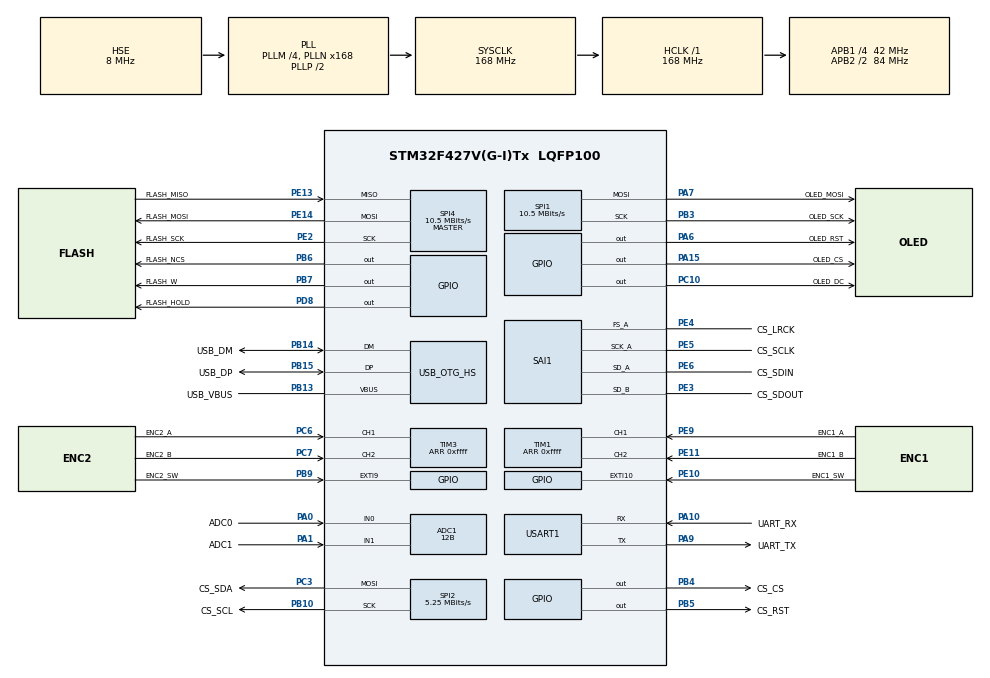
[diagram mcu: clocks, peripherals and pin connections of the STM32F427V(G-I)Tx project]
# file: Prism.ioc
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ADC1.Channel-0\#ChannelRegularConversion=ADC_CHANNEL_0
ADC1.Channel-1\#ChannelRegularConversion=ADC_CHANNEL_1
ADC1.ClockPrescaler=ADC_CLOCK_SYNC_PCLK_DIV8
ADC1.ContinuousConvMode=ENABLE
ADC1.DMAContinuousRequests=ENABLE
ADC1.DataAlign=ADC_DATAALIGN_RIGHT
ADC1.DiscontinuousConvMode=DISABLE
ADC1.EOCSelection=ADC_EOC_SINGLE_CONV
ADC1.EnableAnalogWatchDog=false
ADC1.ExternalTrigConv=ADC_SOFTWARE_START
ADC1.ExternalTrigConvEdge=ADC_EXTERNALTRIGCONVEDGE_NONE
ADC1.InjNumberOfConversion=0
ADC1.NbrOfConversion=2
ADC1.NbrOfConversionFlag=1
ADC1.Rank-0\#ChannelRegularConversion=1
ADC1.Rank-1\#ChannelRegularConversion=2
ADC1.Resolution=ADC_RESOLUTION_12B
ADC1.SamplingTime-0\#ChannelRegularConversion=ADC_SAMPLETIME_144CYCLES
ADC1.SamplingTime-1\#ChannelRegularConversion=ADC_SAMPLETIME_144CYCLES
ADC1.ScanConvMode=ENABLE
ADC1.master=1
Dma.ADC1.5.Direction=DMA_PERIPH_TO_MEMORY
Dma.ADC1.5.FIFOMode=DMA_FIFOMODE_DISABLE
Dma.ADC1.5.Instance=DMA2_Stream0
Dma.ADC1.5.MemDataAlignment=DMA_MDATAALIGN_HALFWORD
Dma.ADC1.5.MemInc=DMA_MINC_ENABLE
Dma.ADC1.5.Mode=DMA_CIRCULAR
Dma.ADC1.5.PeriphDataAlignment=DMA_PDATAALIGN_HALFWORD
Dma.ADC1.5.PeriphInc=DMA_PINC_DISABLE
Dma.ADC1.5.Priority=DMA_PRIORITY_LOW
Dma.Request0=SAI1_A
Dma.Request1=SAI1_B
Dma.Request2=SPI1_TX
Dma.Request3=USART1_RX
Dma.Request4=USART1_TX
Dma.Request5=ADC1
Dma.SAI1_A.0.Direction=DMA_MEMORY_TO_PERIPH
Dma.SAI1_A.0.FIFOMode=DMA_FIFOMODE_DISABLE
Dma.SAI1_A.0.Instance=DMA2_Stream1
Dma.SAI1_A.0.MemDataAlignment=DMA_MDATAALIGN_WORD
Dma.SAI1_A.0.MemInc=DMA_MINC_ENABLE
Dma.SAI1_A.0.Mode=DMA_CIRCULAR
Dma.SAI1_A.0.PeriphDataAlignment=DMA_PDATAALIGN_WORD
Dma.SAI1_A.0.PeriphInc=DMA_PINC_DISABLE
Dma.SAI1_A.0.Priority=DMA_PRIORITY_VERY_HIGH
Dma.SAI1_B.1.Direction=DMA_PERIPH_TO_MEMORY
Dma.SAI1_B.1.FIFOMode=DMA_FIFOMODE_DISABLE
Dma.SAI1_B.1.Instance=DMA2_Stream4
Dma.SAI1_B.1.MemDataAlignment=DMA_MDATAALIGN_WORD
Dma.SAI1_B.1.MemInc=DMA_MINC_ENABLE
Dma.SAI1_B.1.Mode=DMA_CIRCULAR
Dma.SAI1_B.1.PeriphDataAlignment=DMA_PDATAALIGN_WORD
Dma.SAI1_B.1.PeriphInc=DMA_PINC_DISABLE
Dma.SAI1_B.1.Priority=DMA_PRIORITY_VERY_HIGH
Dma.SPI1_TX.2.Direction=DMA_MEMORY_TO_PERIPH
Dma.SPI1_TX.2.FIFOMode=DMA_FIFOMODE_DISABLE
Dma.SPI1_TX.2.Instance=DMA2_Stream3
Dma.SPI1_TX.2.MemDataAlignment=DMA_MDATAALIGN_BYTE
Dma.SPI1_TX.2.MemInc=DMA_MINC_ENABLE
Dma.SPI1_TX.2.Mode=DMA_NORMAL
Dma.SPI1_TX.2.PeriphDataAlignment=DMA_PDATAALIGN_BYTE
Dma.SPI1_TX.2.PeriphInc=DMA_PINC_DISABLE
Dma.SPI1_TX.2.Priority=DMA_PRIORITY_LOW
Dma.USART1_RX.3.Direction=DMA_PERIPH_TO_MEMORY
Dma.USART1_RX.3.FIFOMode=DMA_FIFOMODE_DISABLE
Dma.USART1_RX.3.Instance=DMA2_Stream2
Dma.USART1_RX.3.MemDataAlignment=DMA_MDATAALIGN_BYTE
Dma.USART1_RX.3.MemInc=DMA_MINC_ENABLE
Dma.USART1_RX.3.Mode=DMA_NORMAL
Dma.USART1_RX.3.PeriphDataAlignment=DMA_PDATAALIGN_BYTE
Dma.USART1_RX.3.PeriphInc=DMA_PINC_DISABLE
Dma.USART1_RX.3.Priority=DMA_PRIORITY_LOW
Dma.USART1_TX.4.Direction=DMA_MEMORY_TO_PERIPH
Dma.USART1_TX.4.FIFOMode=DMA_FIFOMODE_DISABLE
Dma.USART1_TX.4.Instance=DMA2_Stream7
Dma.USART1_TX.4.MemDataAlignment=DMA_MDATAALIGN_BYTE
Dma.USART1_TX.4.MemInc=DMA_MINC_ENABLE
Dma.USART1_TX.4.Mode=DMA_NORMAL
Dma.USART1_TX.4.PeriphDataAlignment=DMA_PDATAALIGN_BYTE
Dma.USART1_TX.4.PeriphInc=DMA_PINC_DISABLE
Dma.USART1_TX.4.Priority=DMA_PRIORITY_LOW
FREERTOS.INCLUDE_vTaskDelayUntil=1
FREERTOS.MEMORY_ALLOCATION=2
FREERTOS.Tasks01=defaultTask,0,512,StartDefaultTask,Default,NULL,Dynamic,NULL,NULL
FREERTOS.configCHECK_FOR_STACK_OVERFLOW=2
FREERTOS.configTOTAL_HEAP_SIZE=4096
FREERTOS.configUSE_IDLE_HOOK=0
FREERTOS.configUSE_MALLOC_FAILED_HOOK=1
FREERTOS.configUSE_MUTEXES=0
FREERTOS.configUSE_PREEMPTION=0
Mcu.Family=STM32F4
Mcu.Name=STM32F427V(G-I)Tx
Mcu.Package=LQFP100
NVIC.DMA2_Stream0_IRQn=true\:5\:0\:false\:false\:true\:true\:false
NVIC.DMA2_Stream1_IRQn=true\:5\:0\:false\:false\:true\:true\:false
NVIC.DMA2_Stream2_IRQn=true\:5\:0\:false\:false\:true\:true\:false
NVIC.DMA2_Stream3_IRQn=true\:5\:0\:false\:false\:true\:true\:false
NVIC.DMA2_Stream4_IRQn=true\:5\:0\:false\:false\:true\:true\:false
NVIC.DMA2_Stream7_IRQn=true\:5\:0\:false\:false\:true\:true\:false
NVIC.EXTI15_10_IRQn=true\:12\:0\:true\:false\:true\:true\:true
NVIC.EXTI9_5_IRQn=true\:12\:0\:true\:false\:true\:true\:true
NVIC.OTG_HS_IRQn=true\:5\:0\:false\:false\:true\:true\:false
NVIC.PriorityGroup=NVIC_PRIORITYGROUP_4
NVIC.SAI1_IRQn=true\:5\:0\:false\:false\:true\:true\:true
NVIC.SPI1_IRQn=true\:10\:0\:true\:false\:true\:true\:true
NVIC.TIM1_BRK_TIM9_IRQn=true\:5\:0\:false\:false\:true\:true\:true
NVIC.TIM1_CC_IRQn=true\:5\:0\:false\:false\:true\:true\:true
NVIC.TIM1_TRG_COM_TIM11_IRQn=true\:5\:0\:false\:false\:true\:true\:true
NVIC.TIM1_UP_TIM10_IRQn=true\:5\:0\:false\:false\:true\:true\:true
NVIC.TIM3_IRQn=true\:5\:0\:false\:false\:true\:true\:true
NVIC.USART1_IRQn=true\:5\:0\:false\:false\:true\:true\:true
PA0/WKUP.GPIO_Label=ADC0
PA0/WKUP.Signal=ADCx_IN0
PA1.GPIO_Label=ADC1
PA1.Signal=ADCx_IN1
PA10.GPIO_Label=UART_RX
PA10.Mode=Multiprocessor_communication
PA10.Signal=USART1_RX
PA13.GPIO_Label=SWDIO
PA13.Mode=Serial_Wire
PA13.Signal=SYS_JTMS-SWDIO
PA14.GPIO_Label=SWDCLK
PA14.Mode=Serial_Wire
PA14.Signal=SYS_JTCK-SWCLK
PA15.GPIO_Label=OLED_CS
PA15.Signal=GPIO_Output
PA6.GPIO_Label=OLED_RST
PA6.Signal=GPIO_Output
PA7.GPIO_Label=OLED_MOSI
PA7.Mode=TX_Only_Simplex_Unidirect_Master
PA7.Signal=SPI1_MOSI
PA9.GPIO_Label=UART_TX
PA9.Mode=Multiprocessor_communication
PA9.Signal=USART1_TX
PB10.GPIO_Label=CS_SCL
PB10.Mode=TX_Only_Simplex_Unidirect_Master
PB10.Signal=SPI2_SCK
PB13.GPIO_Label=USB_VBUS
PB13.Mode=Activate_VBUS_FS
PB13.Signal=USB_OTG_HS_VBUS
PB14.GPIO_Label=USB_DM
PB14.Mode=Device_Only_FS
PB14.Signal=USB_OTG_HS_DM
PB15.GPIO_Label=USB_DP
PB15.Mode=Device_Only_FS
PB15.Signal=USB_OTG_HS_DP
PB3.GPIO_Label=OLED_SCK
PB3.Mode=TX_Only_Simplex_Unidirect_Master
PB3.Signal=SPI1_SCK
PB4.GPIO_Label=CS_CS
PB4.Signal=GPIO_Output
PB5.GPIO_Label=CS_RST
PB5.Signal=GPIO_Output
PB6.GPIO_Label=FLASH_NCS
PB6.Signal=GPIO_Output
PB7.GPIO_Label=FLASH_W
PB7.Signal=GPIO_Output
PB9.GPIO_Label=ENC2_SW
PB9.GPIO_ModeDefaultEXTI=GPIO_MODE_IT_RISING_FALLING
PB9.GPIO_PuPd=GPIO_PULLUP
PB9.Signal=GPXTI9
PC10.GPIO_Label=OLED_DC
PC10.Signal=GPIO_Output
PC3.GPIO_Label=CS_SDA
PC3.Mode=TX_Only_Simplex_Unidirect_Master
PC3.Signal=SPI2_MOSI
PC6.GPIO_Label=ENC2_A
PC6.GPIO_PuPd=GPIO_PULLUP
PC6.Signal=S_TIM3_CH1
PC7.GPIO_Label=ENC2_B
PC7.GPIO_PuPd=GPIO_PULLUP
PC7.Signal=S_TIM3_CH2
PD8.GPIO_Label=FLASH_HOLD
PD8.Signal=GPIO_Output
PE10.GPIO_Label=ENC1_SW
PE10.GPIO_ModeDefaultEXTI=GPIO_MODE_IT_RISING_FALLING
PE10.GPIO_PuPd=GPIO_PULLUP
PE10.Signal=GPXTI10
PE11.GPIO_Label=ENC1_B
PE11.GPIO_PuPd=GPIO_PULLUP
PE11.Signal=S_TIM1_CH2
PE13.GPIO_Label=FLASH_MISO
PE13.Mode=Full_Duplex_Master
PE13.Signal=SPI4_MISO
PE14.GPIO_Label=FLASH_MOSI
PE14.Mode=Full_Duplex_Master
PE14.Signal=SPI4_MOSI
PE2.GPIO_Label=FLASH_SCK
PE2.Mode=Full_Duplex_Master
PE2.Signal=SPI4_SCK
PE3.GPIO_Label=CS_SDOUT
PE3.Mode=SAI_B_SyncSlave
PE3.Signal=SAI1_SD_B
PE4.GPIO_Label=CS_LRCK
PE4.Mode=SAI_A_AsyncSlave
PE4.Signal=SAI1_FS_A
PE5.GPIO_Label=CS_SCLK
PE5.Mode=SAI_A_AsyncSlave
PE5.Signal=SAI1_SCK_A
PE6.GPIO_Label=CS_SDIN
PE6.Mode=SAI_A_AsyncSlave
PE6.Signal=SAI1_SD_A
PE9.GPIO_Label=ENC1_A
PE9.GPIO_PuPd=GPIO_PULLUP
PE9.Signal=S_TIM1_CH1
PH0/OSC_IN.Mode=HSE-External-Oscillator
PH0/OSC_IN.Signal=RCC_OSC_IN
PH1/OSC_OUT.Mode=HSE-External-Oscillator
PH1/OSC_OUT.Signal=RCC_OSC_OUT
ProjectManager.HeapSize=0x200
ProjectManager.StackSize=0x400
ProjectManager.TargetToolchain=MDK-ARM V5
RCC.48MHZClocksFreq_Value=48000000
RCC.AHBFreq_Value=168000000
RCC.APB1CLKDivider=RCC_HCLK_DIV4
RCC.APB1Freq_Value=42000000
RCC.APB1TimFreq_Value=84000000
RCC.APB2CLKDivider=RCC_HCLK_DIV2
RCC.APB2Freq_Value=84000000
RCC.APB2TimFreq_Value=168000000
RCC.CortexFreq_Value=168000000
RCC.HCLKFreq_Value=168000000
RCC.HSE_VALUE=8000000
RCC.HSI_VALUE=16000000
RCC.LSE_VALUE=32768
RCC.PLLM=4
RCC.PLLN=168
RCC.PLLQ=7
RCC.PLLSAIN=50
RCC.PLLSAIQ=2
RCC.SYSCLKFreq_VALUE=168000000
RCC.SYSCLKSource=RCC_SYSCLKSOURCE_PLLCLK
RCC.VCOOutputFreq_Value=336000000
SAI1.AudioMode-SAI_A_AsyncSlave=SAI_MODESLAVE_TX
SAI1.FrameLength-SAI_B_SyncSlave=24
SAI1.Instance-SAI_A_AsyncSlave=SAI$Index_Block_A
SAI1.Instance-SAI_B_SyncSlave=SAI$Index_Block_B
SAI1.SlotNumber-SAI_A_AsyncSlave=1
SAI1.Synchro-SAI_A_AsyncSlave=SAI_ASYNCHRONOUS
SAI1.Synchro-SAI_B_SyncSlave=SAI_SYNCHRONOUS
SAI1.VirtualMode-SAI_A_AsyncSlave=VM_SLAVE
SAI1.VirtualMode-SAI_B_SyncSlave=VM_SLAVE
SAI1.VirtualSlotActive-SAI_A_AsyncSlave=SAI_SLOT_USERSETTING
SH.ADCx_IN0.0=ADC1_IN0,IN0
SH.ADCx_IN1.0=ADC1_IN1,IN1
SH.S_TIM1_CH1.0=TIM1_CH1,Encoder_Interface
SH.S_TIM1_CH2.0=TIM1_CH2,Encoder_Interface
SH.S_TIM3_CH1.0=TIM3_CH1,Encoder_Interface
SH.S_TIM3_CH2.0=TIM3_CH2,Encoder_Interface
SPI1.BaudRatePrescaler=SPI_BAUDRATEPRESCALER_8
SPI1.CalculateBaudRate=10.5 MBits/s
SPI1.Direction=SPI_DIRECTION_2LINES
SPI1.Mode=SPI_MODE_MASTER
SPI1.VirtualType=VM_MASTER
SPI2.BaudRatePrescaler=SPI_BAUDRATEPRESCALER_8
SPI2.CalculateBaudRate=5.25 MBits/s
SPI2.Direction=SPI_DIRECTION_2LINES
SPI2.Mode=SPI_MODE_MASTER
SPI2.VirtualNSS=VM_NSSHARD
SPI2.VirtualType=VM_MASTER
SPI4.BaudRatePrescaler=SPI_BAUDRATEPRESCALER_8
SPI4.CalculateBaudRate=10.5 MBits/s
SPI4.Direction=SPI_DIRECTION_2LINES
SPI4.Mode=SPI_MODE_MASTER
SPI4.VirtualType=VM_MASTER
TIM1.EncoderMode=TIM_ENCODERMODE_TI2
TIM1.Period=0xffff
TIM3.EncoderMode=TIM_ENCODERMODE_TI2
TIM3.Period=0xffff
USART1.VirtualMode=VM_ASYNC
USB_DEVICE.CLASS_NAME_HS=AUDIO
USB_DEVICE.MANUFACTURER_STRING-AUDIO_HS=Rebel Technology
USB_DEVICE.PID_AUDIO_HS=0xDADA
USB_DEVICE.PRODUCT_STRING_AUDIO_HS=OWL-MIDI
USB_DEVICE.SERIALNUMBER_STRING_AUDIO_HS=00000000010D
USB_DEVICE.USBD_SUPPORT_USER_STRING-AUDIO_HS=1
USB_DEVICE.VID-AUDIO_HS=0x1209
USB_DEVICE.VirtualMode-AUDIO_HS=Audio
USB_DEVICE.VirtualModeHS=Audio_HS
USB_OTG_HS.VirtualMode-Device_Only_FS=Device_Only_FS
VP_FREERTOS_VS_ENABLE.Mode=Enabled
VP_USB_DEVICE_VS_USB_DEVICE_AUDIO_HS.Mode=AUDIO_HS
board=Prism

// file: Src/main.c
/**
  ******************************************************************************
  * @file           : main.c
  * @brief          : Main program body
  ******************************************************************************
  * This notice applies to any and all portions of this file
  * that are not between comment pairs USER CODE BEGIN and
  * USER CODE END. Other portions of this file, whether
  * inserted by the user or by software development tools
  * are owned by their respective copyright owners.
  *
  * Copyright (c) 2018 STMicroelectronics International N.V.
  * All rights reserved.
  *
  * Redistribution and use in source and binary forms, with or without
  * modification, are permitted, provided that the following conditions are met:
  *
  * 1. Redistribution of source code must retain the above copyright notice,
  *    this list of conditions and the following disclaimer.
  * 2. Redistributions in binary form must reproduce the above copyright notice,
  *    this list of conditions and the following disclaimer in the documentation
  *    and/or other materials provided with the distribution.
  * 3. Neither the name of STMicroelectronics nor the names of other
  *    contributors to this software may be used to endorse or promote products
  *    derived from this software without specific written permission.
  * 4. This software, including modifications and/or derivative works of this
  *    software, must execute solely and exclusively on microcontroller or
  *    microprocessor devices manufactured by or for STMicroelectronics.
  * 5. Redistribution and use of this software other than as permitted under
  *    this license is void and will automatically terminate your rights under
  *    this license.
  *
  * THIS SOFTWARE IS PROVIDED BY STMICROELECTRONICS AND CONTRIBUTORS "AS IS"
  * AND ANY EXPRESS, IMPLIED OR STATUTORY WARRANTIES, INCLUDING, BUT NOT
  * LIMITED TO, THE IMPLIED WARRANTIES OF MERCHANTABILITY, FITNESS FOR A
  * PARTICULAR PURPOSE AND NON-INFRINGEMENT OF THIRD PARTY INTELLECTUAL PROPERTY
  * RIGHTS ARE DISCLAIMED TO THE FULLEST EXTENT PERMITTED BY LAW. IN NO EVENT
  * SHALL STMICROELECTRONICS OR CONTRIBUTORS BE LIABLE FOR ANY DIRECT, INDIRECT,
  * INCIDENTAL, SPECIAL, EXEMPLARY, OR CONSEQUENTIAL DAMAGES (INCLUDING, BUT NOT
  * LIMITED TO, PROCUREMENT OF SUBSTITUTE GOODS OR SERVICES; LOSS OF USE, DATA,
  * OR PROFITS; OR BUSINESS INTERRUPTION) HOWEVER CAUSED AND ON ANY THEORY OF
  * LIABILITY, WHETHER IN CONTRACT, STRICT LIABILITY, OR TORT (INCLUDING
  * NEGLIGENCE OR OTHERWISE) ARISING IN ANY WAY OUT OF THE USE OF THIS SOFTWARE,
  * EVEN IF ADVISED OF THE POSSIBILITY OF SUCH DAMAGE.
  *
  ******************************************************************************
  */
#include "main.h"
#include "stm32f4xx_hal.h"
#include "cmsis_os.h"
#include "usb_device.h"

ADC_HandleTypeDef hadc1;
DMA_HandleTypeDef hdma_adc1;

SAI_HandleTypeDef hsai_BlockA1;
SAI_HandleTypeDef hsai_BlockB1;
DMA_HandleTypeDef hdma_sai1_a;
DMA_HandleTypeDef hdma_sai1_b;

SPI_HandleTypeDef hspi1;
SPI_HandleTypeDef hspi2;
SPI_HandleTypeDef hspi4;
DMA_HandleTypeDef hdma_spi1_tx;

TIM_HandleTypeDef htim1;
TIM_HandleTypeDef htim3;

UART_HandleTypeDef huart1;
DMA_HandleTypeDef hdma_usart1_rx;
DMA_HandleTypeDef hdma_usart1_tx;

osThreadId defaultTaskHandle;

/* USER CODE BEGIN PV */
/* Private variables ---------------------------------------------------------*/

/* USER CODE END PV */

void SystemClock_Config(void);
static void MX_GPIO_Init(void);
static void MX_DMA_Init(void);
static void MX_ADC1_Init(void);
static void MX_SAI1_Init(void);
static void MX_SPI1_Init(void);
static void MX_SPI2_Init(void);
static void MX_SPI4_Init(void);
static void MX_TIM1_Init(void);
static void MX_TIM3_Init(void);
static void MX_USART1_UART_Init(void);
void StartDefaultTask(void const * argument);

/* USER CODE BEGIN PFP */
/* Private function prototypes -----------------------------------------------*/

void setup();
void loop(void);

/* USER CODE END PFP */

int main(void)
{

  /* MCU Configuration----------------------------------------------------------*/

  /* Reset of all peripherals, Initializes the Flash interface and the Systick. */
  HAL_Init();

  /* Configure the system clock */
  SystemClock_Config();

  /* Initialize all configured peripherals */
  MX_GPIO_Init();
  MX_DMA_Init();
  MX_ADC1_Init();
  MX_SAI1_Init();
  MX_SPI1_Init();
  MX_SPI2_Init();
  MX_SPI4_Init();
  MX_TIM1_Init();
  MX_TIM3_Init();
  MX_USART1_UART_Init();
  /* USER CODE BEGIN 2 */

  HAL_SAI_DeInit(&hsai_BlockA1);
  HAL_SAI_DeInit(&hsai_BlockB1);
  hsai_BlockA1.Instance = SAI1_Block_A;
  hsai_BlockA1.Init.AudioMode = SAI_MODESLAVE_TX;
  hsai_BlockA1.Init.Synchro = SAI_ASYNCHRONOUS;
  hsai_BlockA1.Init.OutputDrive = SAI_OUTPUTDRIVE_DISABLE;
  hsai_BlockA1.Init.FIFOThreshold = SAI_FIFOTHRESHOLD_EMPTY;
  hsai_BlockA1.Init.SynchroExt = SAI_SYNCEXT_DISABLE;
  hsai_BlockA1.Init.MonoStereoMode = SAI_STEREOMODE;
  hsai_BlockA1.Init.CompandingMode = SAI_NOCOMPANDING;
  hsai_BlockA1.Init.TriState = SAI_OUTPUT_NOTRELEASED;
  if (HAL_SAI_InitProtocol(&hsai_BlockA1, SAI_I2S_STANDARD, SAI_PROTOCOL_DATASIZE_24BIT, 2) != HAL_OK)
    Error_Handler();
  hsai_BlockB1.Instance = SAI1_Block_B;
  hsai_BlockB1.Init.AudioMode = SAI_MODESLAVE_RX;
  hsai_BlockB1.Init.Synchro = SAI_SYNCHRONOUS;
  hsai_BlockB1.Init.OutputDrive = SAI_OUTPUTDRIVE_DISABLE;
  hsai_BlockB1.Init.FIFOThreshold = SAI_FIFOTHRESHOLD_EMPTY;
  hsai_BlockB1.Init.SynchroExt = SAI_SYNCEXT_DISABLE;
  hsai_BlockB1.Init.MonoStereoMode = SAI_STEREOMODE;
  hsai_BlockB1.Init.CompandingMode = SAI_NOCOMPANDING;
  hsai_BlockB1.Init.TriState = SAI_OUTPUT_NOTRELEASED;
  if (HAL_SAI_InitProtocol(&hsai_BlockB1, SAI_I2S_STANDARD, SAI_PROTOCOL_DATASIZE_24BIT, 2) != HAL_OK)
    Error_Handler();

  // Initialise
  setup();

  /* USER CODE END 2 */

  /* Create the thread(s) */
  /* definition and creation of defaultTask */
  osThreadDef(defaultTask, StartDefaultTask, osPriorityNormal, 0, 512);
  defaultTaskHandle = osThreadCreate(osThread(defaultTask), NULL);

  /* Start scheduler */
  osKernelStart();

  /* We should never get here as control is now taken by the scheduler */

  /* Infinite loop */
  while (1)
  {

  }

}

void SystemClock_Config(void)
{

  RCC_OscInitTypeDef RCC_OscInitStruct;
  RCC_ClkInitTypeDef RCC_ClkInitStruct;
  RCC_PeriphCLKInitTypeDef PeriphClkInitStruct;

    /**Macro to configure SAI1BlockB clock source selection
    */
  __HAL_RCC_SAI_BLOCKBCLKSOURCE_CONFIG(SAI_CLKSOURCE_PLLSAI);

    /**Macro to configure SAI1BlockA clock source selection
    */
  __HAL_RCC_SAI_BLOCKACLKSOURCE_CONFIG(SAI_CLKSOURCE_PLLSAI);

    /**Configure the main internal regulator output voltage
    */
  __HAL_RCC_PWR_CLK_ENABLE();

  __HAL_PWR_VOLTAGESCALING_CONFIG(PWR_REGULATOR_VOLTAGE_SCALE1);

    /**Initializes the CPU, AHB and APB busses clocks
    */
  RCC_OscInitStruct.OscillatorType = RCC_OSCILLATORTYPE_HSE;
  RCC_OscInitStruct.HSEState = RCC_HSE_ON;
  RCC_OscInitStruct.PLL.PLLState = RCC_PLL_ON;
  RCC_OscInitStruct.PLL.PLLSource = RCC_PLLSOURCE_HSE;
  RCC_OscInitStruct.PLL.PLLM = 4;
  RCC_OscInitStruct.PLL.PLLN = 168;
  RCC_OscInitStruct.PLL.PLLP = RCC_PLLP_DIV2;
  RCC_OscInitStruct.PLL.PLLQ = 7;
  if (HAL_RCC_OscConfig(&RCC_OscInitStruct) != HAL_OK)
  {
    _Error_Handler(__FILE__, __LINE__);
  }

    /**Initializes the CPU, AHB and APB busses clocks
    */
  RCC_ClkInitStruct.ClockType = RCC_CLOCKTYPE_HCLK|RCC_CLOCKTYPE_SYSCLK
                              |RCC_CLOCKTYPE_PCLK1|RCC_CLOCKTYPE_PCLK2;
  RCC_ClkInitStruct.SYSCLKSource = RCC_SYSCLKSOURCE_PLLCLK;
  RCC_ClkInitStruct.AHBCLKDivider = RCC_SYSCLK_DIV1;
  RCC_ClkInitStruct.APB1CLKDivider = RCC_HCLK_DIV4;
  RCC_ClkInitStruct.APB2CLKDivider = RCC_HCLK_DIV2;

  if (HAL_RCC_ClockConfig(&RCC_ClkInitStruct, FLASH_LATENCY_5) != HAL_OK)
  {
    _Error_Handler(__FILE__, __LINE__);
  }

  PeriphClkInitStruct.PeriphClockSelection = RCC_PERIPHCLK_SAI_PLLSAI;
  PeriphClkInitStruct.PLLSAI.PLLSAIN = 50;
  PeriphClkInitStruct.PLLSAI.PLLSAIQ = 2;
  PeriphClkInitStruct.PLLSAIDivQ = 1;
  if (HAL_RCCEx_PeriphCLKConfig(&PeriphClkInitStruct) != HAL_OK)
  {
    _Error_Handler(__FILE__, __LINE__);
  }

    /**Configure the Systick interrupt time
    */
  HAL_SYSTICK_Config(HAL_RCC_GetHCLKFreq()/1000);

    /**Configure the Systick
    */
  HAL_SYSTICK_CLKSourceConfig(SYSTICK_CLKSOURCE_HCLK);

  /* SysTick_IRQn interrupt configuration */
  HAL_NVIC_SetPriority(SysTick_IRQn, 15, 0);
}

/* ADC1 init function */
static void MX_ADC1_Init(void)
{

  ADC_ChannelConfTypeDef sConfig;

    /**Configure the global features of the ADC (Clock, Resolution, Data Alignment and number of conversion)
    */
  hadc1.Instance = ADC1;
  hadc1.Init.ClockPrescaler = ADC_CLOCK_SYNC_PCLK_DIV8;
  hadc1.Init.Resolution = ADC_RESOLUTION_12B;
  hadc1.Init.ScanConvMode = ENABLE;
  hadc1.Init.ContinuousConvMode = ENABLE;
  hadc1.Init.DiscontinuousConvMode = DISABLE;
  hadc1.Init.ExternalTrigConvEdge = ADC_EXTERNALTRIGCONVEDGE_NONE;
  hadc1.Init.ExternalTrigConv = ADC_SOFTWARE_START;
  hadc1.Init.DataAlign = ADC_DATAALIGN_RIGHT;
  hadc1.Init.NbrOfConversion = 2;
  hadc1.Init.DMAContinuousRequests = ENABLE;
  hadc1.Init.EOCSelection = ADC_EOC_SINGLE_CONV;
  if (HAL_ADC_Init(&hadc1) != HAL_OK)
  {
    _Error_Handler(__FILE__, __LINE__);
  }

    /**Configure for the selected ADC regular channel its corresponding rank in the sequencer and its sample time.
    */
  sConfig.Channel = ADC_CHANNEL_0;
  sConfig.Rank = 1;
  sConfig.SamplingTime = ADC_SAMPLETIME_144CYCLES;
  if (HAL_ADC_ConfigChannel(&hadc1, &sConfig) != HAL_OK)
  {
    _Error_Handler(__FILE__, __LINE__);
  }

    /**Configure for the selected ADC regular channel its corresponding rank in the sequencer and its sample time.
    */
  sConfig.Channel = ADC_CHANNEL_1;
  sConfig.Rank = 2;
  if (HAL_ADC_ConfigChannel(&hadc1, &sConfig) != HAL_OK)
  {
    _Error_Handler(__FILE__, __LINE__);
  }

}

/* SAI1 init function */
static void MX_SAI1_Init(void)
{

  hsai_BlockA1.Instance = SAI1_Block_A;
  hsai_BlockA1.Init.Protocol = SAI_FREE_PROTOCOL;
  hsai_BlockA1.Init.AudioMode = SAI_MODESLAVE_TX;
  hsai_BlockA1.Init.DataSize = SAI_DATASIZE_24;
  hsai_BlockA1.Init.FirstBit = SAI_FIRSTBIT_MSB;
  hsai_BlockA1.Init.ClockStrobing = SAI_CLOCKSTROBING_FALLINGEDGE;
  hsai_BlockA1.Init.Synchro = SAI_ASYNCHRONOUS;
  hsai_BlockA1.Init.OutputDrive = SAI_OUTPUTDRIVE_DISABLE;
  hsai_BlockA1.Init.FIFOThreshold = SAI_FIFOTHRESHOLD_EMPTY;
  hsai_BlockA1.FrameInit.FrameLength = 24;
  hsai_BlockA1.FrameInit.ActiveFrameLength = 1;
  hsai_BlockA1.FrameInit.FSDefinition = SAI_FS_STARTFRAME;
  hsai_BlockA1.FrameInit.FSPolarity = SAI_FS_ACTIVE_LOW;
  hsai_BlockA1.FrameInit.FSOffset = SAI_FS_FIRSTBIT;
  hsai_BlockA1.SlotInit.FirstBitOffset = 0;
  hsai_BlockA1.SlotInit.SlotSize = SAI_SLOTSIZE_DATASIZE;
  hsai_BlockA1.SlotInit.SlotNumber = 1;
  hsai_BlockA1.SlotInit.SlotActive = 0x00000000;
  if (HAL_SAI_Init(&hsai_BlockA1) != HAL_OK)
  {
    _Error_Handler(__FILE__, __LINE__);
  }

  hsai_BlockB1.Instance = SAI1_Block_B;
  hsai_BlockB1.Init.Protocol = SAI_FREE_PROTOCOL;
  hsai_BlockB1.Init.AudioMode = SAI_MODESLAVE_RX;
  hsai_BlockB1.Init.DataSize = SAI_DATASIZE_24;
  hsai_BlockB1.Init.FirstBit = SAI_FIRSTBIT_MSB;
  hsai_BlockB1.Init.ClockStrobing = SAI_CLOCKSTROBING_FALLINGEDGE;
  hsai_BlockB1.Init.Synchro = SAI_SYNCHRONOUS;
  hsai_BlockB1.Init.OutputDrive = SAI_OUTPUTDRIVE_DISABLE;
  hsai_BlockB1.Init.FIFOThreshold = SAI_FIFOTHRESHOLD_EMPTY;
  hsai_BlockB1.FrameInit.FrameLength = 24;
  hsai_BlockB1.FrameInit.ActiveFrameLength = 1;
  hsai_BlockB1.FrameInit.FSDefinition = SAI_FS_STARTFRAME;
  hsai_BlockB1.FrameInit.FSPolarity = SAI_FS_ACTIVE_LOW;
  hsai_BlockB1.FrameInit.FSOffset = SAI_FS_FIRSTBIT;
  hsai_BlockB1.SlotInit.FirstBitOffset = 0;
  hsai_BlockB1.SlotInit.SlotSize = SAI_SLOTSIZE_DATASIZE;
  hsai_BlockB1.SlotInit.SlotNumber = 1;
  hsai_BlockB1.SlotInit.SlotActive = 0x00000000;
  if (HAL_SAI_Init(&hsai_BlockB1) != HAL_OK)
  {
    _Error_Handler(__FILE__, __LINE__);
  }

}

/* SPI1 init function */
static void MX_SPI1_Init(void)
{

  /* SPI1 parameter configuration*/
  hspi1.Instance = SPI1;
  hspi1.Init.Mode = SPI_MODE_MASTER;
  hspi1.Init.Direction = SPI_DIRECTION_2LINES;
  hspi1.Init.DataSize = SPI_DATASIZE_8BIT;
  hspi1.Init.CLKPolarity = SPI_POLARITY_LOW;
  hspi1.Init.CLKPhase = SPI_PHASE_1EDGE;
  hspi1.Init.NSS = SPI_NSS_SOFT;
  hspi1.Init.BaudRatePrescaler = SPI_BAUDRATEPRESCALER_8;
  hspi1.Init.FirstBit = SPI_FIRSTBIT_MSB;
  hspi1.Init.TIMode = SPI_TIMODE_DISABLE;
  hspi1.Init.CRCCalculation = SPI_CRCCALCULATION_DISABLE;
  hspi1.Init.CRCPolynomial = 10;
  if (HAL_SPI_Init(&hspi1) != HAL_OK)
  {
    _Error_Handler(__FILE__, __LINE__);
  }

}

/* SPI2 init function */
static void MX_SPI2_Init(void)
{

  /* SPI2 parameter configuration*/
  hspi2.Instance = SPI2;
  hspi2.Init.Mode = SPI_MODE_MASTER;
  hspi2.Init.Direction = SPI_DIRECTION_2LINES;
  hspi2.Init.DataSize = SPI_DATASIZE_8BIT;
  hspi2.Init.CLKPolarity = SPI_POLARITY_LOW;
  hspi2.Init.CLKPhase = SPI_PHASE_1EDGE;
  hspi2.Init.NSS = SPI_NSS_SOFT;
  hspi2.Init.BaudRatePrescaler = SPI_BAUDRATEPRESCALER_8;
  hspi2.Init.FirstBit = SPI_FIRSTBIT_MSB;
  hspi2.Init.TIMode = SPI_TIMODE_DISABLE;
  hspi2.Init.CRCCalculation = SPI_CRCCALCULATION_DISABLE;
  hspi2.Init.CRCPolynomial = 10;
  if (HAL_SPI_Init(&hspi2) != HAL_OK)
  {
    _Error_Handler(__FILE__, __LINE__);
  }

}

/* SPI4 init function */
static void MX_SPI4_Init(void)
{

  /* SPI4 parameter configuration*/
  hspi4.Instance = SPI4;
  hspi4.Init.Mode = SPI_MODE_MASTER;
  hspi4.Init.Direction = SPI_DIRECTION_2LINES;
  hspi4.Init.DataSize = SPI_DATASIZE_8BIT;
  hspi4.Init.CLKPolarity = SPI_POLARITY_LOW;
  hspi4.Init.CLKPhase = SPI_PHASE_1EDGE;
  hspi4.Init.NSS = SPI_NSS_SOFT;
  hspi4.Init.BaudRatePrescaler = SPI_BAUDRATEPRESCALER_8;
  hspi4.Init.FirstBit = SPI_FIRSTBIT_MSB;
  hspi4.Init.TIMode = SPI_TIMODE_DISABLE;
  hspi4.Init.CRCCalculation = SPI_CRCCALCULATION_DISABLE;
  hspi4.Init.CRCPolynomial = 10;
  if (HAL_SPI_Init(&hspi4) != HAL_OK)
  {
    _Error_Handler(__FILE__, __LINE__);
  }

}

/* TIM1 init function */
static void MX_TIM1_Init(void)
{

  TIM_Encoder_InitTypeDef sConfig;
  TIM_MasterConfigTypeDef sMasterConfig;

  htim1.Instance = TIM1;
  htim1.Init.Prescaler = 0;
  htim1.Init.CounterMode = TIM_COUNTERMODE_UP;
  htim1.Init.Period = 0xffff;
  htim1.Init.ClockDivision = TIM_CLOCKDIVISION_DIV1;
  htim1.Init.RepetitionCounter = 0;
  sConfig.EncoderMode = TIM_ENCODERMODE_TI2;
  sConfig.IC1Polarity = TIM_ICPOLARITY_RISING;
  sConfig.IC1Selection = TIM_ICSELECTION_DIRECTTI;
  sConfig.IC1Prescaler = TIM_ICPSC_DIV1;
  sConfig.IC1Filter = 0;
  sConfig.IC2Polarity = TIM_ICPOLARITY_RISING;
  sConfig.IC2Selection = TIM_ICSELECTION_DIRECTTI;
  sConfig.IC2Prescaler = TIM_ICPSC_DIV1;
  sConfig.IC2Filter = 0;
  if (HAL_TIM_Encoder_Init(&htim1, &sConfig) != HAL_OK)
  {
    _Error_Handler(__FILE__, __LINE__);
  }

  sMasterConfig.MasterOutputTrigger = TIM_TRGO_RESET;
  sMasterConfig.MasterSlaveMode = TIM_MASTERSLAVEMODE_DISABLE;
  if (HAL_TIMEx_MasterConfigSynchronization(&htim1, &sMasterConfig) != HAL_OK)
  {
    _Error_Handler(__FILE__, __LINE__);
  }

}

/* TIM3 init function */
static void MX_TIM3_Init(void)
{

  TIM_Encoder_InitTypeDef sConfig;
  TIM_MasterConfigTypeDef sMasterConfig;

  htim3.Instance = TIM3;
  htim3.Init.Prescaler = 0;
  htim3.Init.CounterMode = TIM_COUNTERMODE_UP;
  htim3.Init.Period = 0xffff;
  htim3.Init.ClockDivision = TIM_CLOCKDIVISION_DIV1;
  sConfig.EncoderMode = TIM_ENCODERMODE_TI2;
  sConfig.IC1Polarity = TIM_ICPOLARITY_RISING;
  sConfig.IC1Selection = TIM_ICSELECTION_DIRECTTI;
  sConfig.IC1Prescaler = TIM_ICPSC_DIV1;
  sConfig.IC1Filter = 0;
  sConfig.IC2Polarity = TIM_ICPOLARITY_RISING;
  sConfig.IC2Selection = TIM_ICSELECTION_DIRECTTI;
  sConfig.IC2Prescaler = TIM_ICPSC_DIV1;
  sConfig.IC2Filter = 0;
  if (HAL_TIM_Encoder_Init(&htim3, &sConfig) != HAL_OK)
  {
    _Error_Handler(__FILE__, __LINE__);
  }

  sMasterConfig.MasterOutputTrigger = TIM_TRGO_RESET;
  sMasterConfig.MasterSlaveMode = TIM_MASTERSLAVEMODE_DISABLE;
  if (HAL_TIMEx_MasterConfigSynchronization(&htim3, &sMasterConfig) != HAL_OK)
  {
    _Error_Handler(__FILE__, __LINE__);
  }

}

/* USART1 init function */
static void MX_USART1_UART_Init(void)
{

  huart1.Instance = USART1;
  huart1.Init.BaudRate = 460800;
  huart1.Init.WordLength = UART_WORDLENGTH_8B;
  huart1.Init.StopBits = UART_STOPBITS_1;
  huart1.Init.Parity = UART_PARITY_NONE;
  huart1.Init.Mode = UART_MODE_TX_RX;
  huart1.Init.HwFlowCtl = UART_HWCONTROL_NONE;
  huart1.Init.OverSampling = UART_OVERSAMPLING_16;
  if (HAL_MultiProcessor_Init(&huart1, 0, UART_WAKEUPMETHOD_IDLELINE) != HAL_OK)
  {
    _Error_Handler(__FILE__, __LINE__);
  }

}

static void MX_DMA_Init(void)
{
  /* DMA controller clock enable */
  __HAL_RCC_DMA2_CLK_ENABLE();

  /* DMA interrupt init */
  /* DMA2_Stream0_IRQn interrupt configuration */
  HAL_NVIC_SetPriority(DMA2_Stream0_IRQn, 5, 0);
  HAL_NVIC_EnableIRQ(DMA2_Stream0_IRQn);
  /* DMA2_Stream1_IRQn interrupt configuration */
  HAL_NVIC_SetPriority(DMA2_Stream1_IRQn, 5, 0);
  HAL_NVIC_EnableIRQ(DMA2_Stream1_IRQn);
  /* DMA2_Stream2_IRQn interrupt configuration */
  HAL_NVIC_SetPriority(DMA2_Stream2_IRQn, 5, 0);
  HAL_NVIC_EnableIRQ(DMA2_Stream2_IRQn);
  /* DMA2_Stream3_IRQn interrupt configuration */
  HAL_NVIC_SetPriority(DMA2_Stream3_IRQn, 5, 0);
  HAL_NVIC_EnableIRQ(DMA2_Stream3_IRQn);
  /* DMA2_Stream4_IRQn interrupt configuration */
  HAL_NVIC_SetPriority(DMA2_Stream4_IRQn, 5, 0);
  HAL_NVIC_EnableIRQ(DMA2_Stream4_IRQn);
  /* DMA2_Stream7_IRQn interrupt configuration */
  HAL_NVIC_SetPriority(DMA2_Stream7_IRQn, 5, 0);
  HAL_NVIC_EnableIRQ(DMA2_Stream7_IRQn);

}

/** Configure pins as
        * Analog
        * Input
        * Output
        * EVENT_OUT
        * EXTI
*/
static void MX_GPIO_Init(void)
{

  GPIO_InitTypeDef GPIO_InitStruct;

  /* GPIO Ports Clock Enable */
  __HAL_RCC_GPIOE_CLK_ENABLE();
  __HAL_RCC_GPIOH_CLK_ENABLE();
  __HAL_RCC_GPIOC_CLK_ENABLE();
  __HAL_RCC_GPIOA_CLK_ENABLE();
  __HAL_RCC_GPIOB_CLK_ENABLE();
  __HAL_RCC_GPIOD_CLK_ENABLE();

  /*Configure GPIO pin Output Level */
  HAL_GPIO_WritePin(GPIOA, OLED_RST_Pin|OLED_CS_Pin, GPIO_PIN_RESET);

  /*Configure GPIO pin Output Level */
  HAL_GPIO_WritePin(FLASH_HOLD_GPIO_Port, FLASH_HOLD_Pin, GPIO_PIN_RESET);

  /*Configure GPIO pin Output Level */
  HAL_GPIO_WritePin(OLED_DC_GPIO_Port, OLED_DC_Pin, GPIO_PIN_RESET);

  /*Configure GPIO pin Output Level */
  HAL_GPIO_WritePin(GPIOB, CS_CS_Pin|CS_RST_Pin|FLASH_NCS_Pin|FLASH_W_Pin, GPIO_PIN_RESET);

  /*Configure GPIO pins : OLED_RST_Pin OLED_CS_Pin */
  GPIO_InitStruct.Pin = OLED_RST_Pin|OLED_CS_Pin;
  GPIO_InitStruct.Mode = GPIO_MODE_OUTPUT_PP;
  GPIO_InitStruct.Pull = GPIO_NOPULL;
  GPIO_InitStruct.Speed = GPIO_SPEED_FREQ_LOW;
  HAL_GPIO_Init(GPIOA, &GPIO_InitStruct);

  /*Configure GPIO pin : ENC1_SW_Pin */
  GPIO_InitStruct.Pin = ENC1_SW_Pin;
  GPIO_InitStruct.Mode = GPIO_MODE_IT_RISING_FALLING;
  GPIO_InitStruct.Pull = GPIO_PULLUP;
  HAL_GPIO_Init(ENC1_SW_GPIO_Port, &GPIO_InitStruct);

  /*Configure GPIO pin : FLASH_HOLD_Pin */
  GPIO_InitStruct.Pin = FLASH_HOLD_Pin;
  GPIO_InitStruct.Mode = GPIO_MODE_OUTPUT_PP;
  GPIO_InitStruct.Pull = GPIO_NOPULL;
  GPIO_InitStruct.Speed = GPIO_SPEED_FREQ_LOW;
  HAL_GPIO_Init(FLASH_HOLD_GPIO_Port, &GPIO_InitStruct);

  /*Configure GPIO pin : OLED_DC_Pin */
  GPIO_InitStruct.Pin = OLED_DC_Pin;
  GPIO_InitStruct.Mode = GPIO_MODE_OUTPUT_PP;
  GPIO_InitStruct.Pull = GPIO_NOPULL;
  GPIO_InitStruct.Speed = GPIO_SPEED_FREQ_LOW;
  HAL_GPIO_Init(OLED_DC_GPIO_Port, &GPIO_InitStruct);

  /*Configure GPIO pins : CS_CS_Pin CS_RST_Pin FLASH_NCS_Pin FLASH_W_Pin */
  GPIO_InitStruct.Pin = CS_CS_Pin|CS_RST_Pin|FLASH_NCS_Pin|FLASH_W_Pin;
  GPIO_InitStruct.Mode = GPIO_MODE_OUTPUT_PP;
  GPIO_InitStruct.Pull = GPIO_NOPULL;
  GPIO_InitStruct.Speed = GPIO_SPEED_FREQ_LOW;
  HAL_GPIO_Init(GPIOB, &GPIO_InitStruct);

  /*Configure GPIO pin : ENC2_SW_Pin */
  GPIO_InitStruct.Pin = ENC2_SW_Pin;
  GPIO_InitStruct.Mode = GPIO_MODE_IT_RISING_FALLING;
  GPIO_InitStruct.Pull = GPIO_PULLUP;
  HAL_GPIO_Init(ENC2_SW_GPIO_Port, &GPIO_InitStruct);

  /* EXTI interrupt init*/
  HAL_NVIC_SetPriority(EXTI9_5_IRQn, 12, 0);
  HAL_NVIC_EnableIRQ(EXTI9_5_IRQn);

  HAL_NVIC_SetPriority(EXTI15_10_IRQn, 12, 0);
  HAL_NVIC_EnableIRQ(EXTI15_10_IRQn);

}

/* StartDefaultTask function */
void StartDefaultTask(void const * argument)
{
  /* init code for USB_DEVICE */
  MX_USB_DEVICE_Init();

  /* USER CODE BEGIN 5 */
  /* Infinite loop */
  for(;;)
  {
    loop();
    /* osDelay(1); */
  }
  /* USER CODE END 5 */
}

void _Error_Handler(char *file, int line)
{
  /* USER CODE BEGIN Error_Handler_Debug */
#ifdef DEBUG
  __asm__("BKPT");
#else
  NVIC_SystemReset();
#endif
  /* USER CODE END Error_Handler_Debug */
}

#ifdef  USE_FULL_ASSERT
/**
  * @brief  Reports the name of the source file and the source line number
  *         where the assert_param error has occurred.
  * @param  file: pointer to the source file name
  * @param  line: assert_param error line source number
  * @retval None
  */
void assert_failed(uint8_t* file, uint32_t line)
{
  /* USER CODE BEGIN 6 */
#ifdef DEBUG
  __asm__("BKPT");
#else
  NVIC_SystemReset();
#endif
  /* USER CODE END 6 */
}
#endif /* USE_FULL_ASSERT */

/************************ (C) COPYRIGHT STMicroelectronics *****END OF FILE****/

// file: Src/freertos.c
/**
  ******************************************************************************
  * File Name          : freertos.c
  * Description        : Code for freertos applications
  ******************************************************************************
  * This notice applies to any and all portions of this file
  * that are not between comment pairs USER CODE BEGIN and
  * USER CODE END. Other portions of this file, whether
  * inserted by the user or by software development tools
  * are owned by their respective copyright owners.
  *
  * Copyright (c) 2018 STMicroelectronics International N.V.
  * All rights reserved.
  *
  * Redistribution and use in source and binary forms, with or without
  * modification, are permitted, provided that the following conditions are met:
  *
  * 1. Redistribution of source code must retain the above copyright notice,
  *    this list of conditions and the following disclaimer.
  * 2. Redistributions in binary form must reproduce the above copyright notice,
  *    this list of conditions and the following disclaimer in the documentation
  *    and/or other materials provided with the distribution.
  * 3. Neither the name of STMicroelectronics nor the names of other
  *    contributors to this software may be used to endorse or promote products
  *    derived from this software without specific written permission.
  * 4. This software, including modifications and/or derivative works of this
  *    software, must execute solely and exclusively on microcontroller or
  *    microprocessor devices manufactured by or for STMicroelectronics.
  * 5. Redistribution and use of this software other than as permitted under
  *    this license is void and will automatically terminate your rights under
  *    this license.
  *
  * THIS SOFTWARE IS PROVIDED BY STMICROELECTRONICS AND CONTRIBUTORS "AS IS"
  * AND ANY EXPRESS, IMPLIED OR STATUTORY WARRANTIES, INCLUDING, BUT NOT
  * LIMITED TO, THE IMPLIED WARRANTIES OF MERCHANTABILITY, FITNESS FOR A
  * PARTICULAR PURPOSE AND NON-INFRINGEMENT OF THIRD PARTY INTELLECTUAL PROPERTY
  * RIGHTS ARE DISCLAIMED TO THE FULLEST EXTENT PERMITTED BY LAW. IN NO EVENT
  * SHALL STMICROELECTRONICS OR CONTRIBUTORS BE LIABLE FOR ANY DIRECT, INDIRECT,
  * INCIDENTAL, SPECIAL, EXEMPLARY, OR CONSEQUENTIAL DAMAGES (INCLUDING, BUT NOT
  * LIMITED TO, PROCUREMENT OF SUBSTITUTE GOODS OR SERVICES; LOSS OF USE, DATA,
  * OR PROFITS; OR BUSINESS INTERRUPTION) HOWEVER CAUSED AND ON ANY THEORY OF
  * LIABILITY, WHETHER IN CONTRACT, STRICT LIABILITY, OR TORT (INCLUDING
  * NEGLIGENCE OR OTHERWISE) ARISING IN ANY WAY OUT OF THE USE OF THIS SOFTWARE,
  * EVEN IF ADVISED OF THE POSSIBILITY OF SUCH DAMAGE.
  *
  ******************************************************************************
  */

#include "FreeRTOS.h"
#include "task.h"

/* GetIdleTaskMemory prototype (linked to static allocation support) */
void vApplicationGetIdleTaskMemory( StaticTask_t **ppxIdleTaskTCBBuffer, StackType_t **ppxIdleTaskStackBuffer, uint32_t *pulIdleTaskStackSize );

/* Hook prototypes */
void vApplicationStackOverflowHook(xTaskHandle xTask, signed char *pcTaskName);
void vApplicationMallocFailedHook(void);

/* USER CODE BEGIN 4 */
__weak void vApplicationStackOverflowHook(TaskHandle_t xTask, signed char *pcTaskName)
{
   /* Run time stack overflow checking is performed if
   configCHECK_FOR_STACK_OVERFLOW is defined to 1 or 2. This hook function is
   called if a stack overflow is detected. */
}
/* USER CODE END 4 */

/* USER CODE BEGIN 5 */
__weak void vApplicationMallocFailedHook(void)
{
   /* vApplicationMallocFailedHook() will only be called if
   configUSE_MALLOC_FAILED_HOOK is set to 1 in FreeRTOSConfig.h. It is a hook
   function that will get called if a call to pvPortMalloc() fails.
   pvPortMalloc() is called internally by the kernel whenever a task, queue,
   timer or semaphore is created. It is also called by various parts of the
   demo application. If heap_1.c or heap_2.c are used, then the size of the
   heap available to pvPortMalloc() is defined by configTOTAL_HEAP_SIZE in
   FreeRTOSConfig.h, and the xPortGetFreeHeapSize() API function can be used
   to query the size of free heap space that remains (although it does not
   provide information on how the remaining heap might be fragmented). */
}
/* USER CODE END 5 */

/* USER CODE BEGIN GET_IDLE_TASK_MEMORY */
static StaticTask_t xIdleTaskTCBBuffer;
static StackType_t xIdleStack[configMINIMAL_STACK_SIZE];

void vApplicationGetIdleTaskMemory( StaticTask_t **ppxIdleTaskTCBBuffer, StackType_t **ppxIdleTaskStackBuffer, uint32_t *pulIdleTaskStackSize )
{
  *ppxIdleTaskTCBBuffer = &xIdleTaskTCBBuffer;
  *ppxIdleTaskStackBuffer = &xIdleStack[0];
  *pulIdleTaskStackSize = configMINIMAL_STACK_SIZE;
  /* place for user code */
}
/* USER CODE END GET_IDLE_TASK_MEMORY */

/************************ (C) COPYRIGHT STMicroelectronics *****END OF FILE****/
